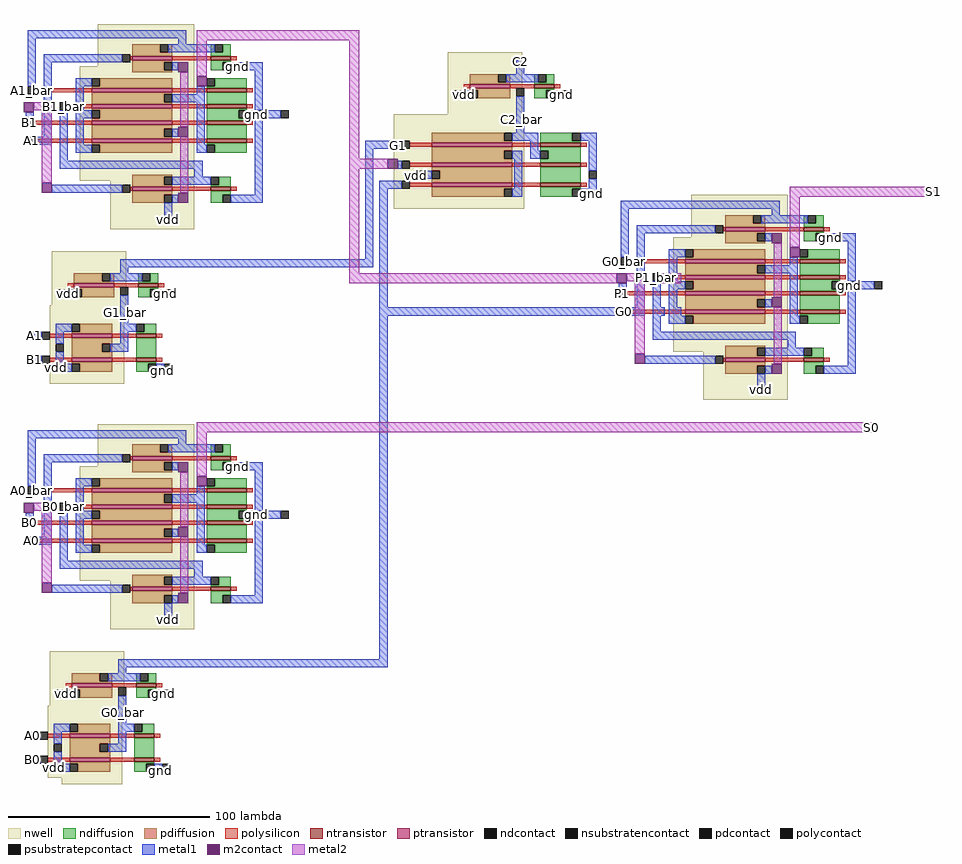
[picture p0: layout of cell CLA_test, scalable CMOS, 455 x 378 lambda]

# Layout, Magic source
magic
tech scmos
<< nwell >>
rect 32 357 80 378
rect 23 300 80 357
rect 206 333 243 364
rect 38 276 80 300
rect 179 330 243 333
rect 179 286 244 330
rect 327 272 375 293
rect 9 238 46 265
rect 8 235 46 238
rect 8 199 45 235
rect 318 215 375 272
rect 333 191 375 215
rect 32 158 80 179
rect 23 101 80 158
rect 38 77 80 101
rect 8 39 45 66
rect 7 36 45 39
rect 7 3 44 36
rect 14 0 44 3
<< ntransistor >>
rect 88 360 98 362
rect 249 346 259 348
rect 86 344 106 346
rect 86 336 106 338
rect 86 328 106 330
rect 86 319 106 321
rect 252 317 272 319
rect 252 307 272 309
rect 88 295 98 297
rect 252 297 272 299
rect 383 275 393 277
rect 381 259 401 261
rect 381 251 401 253
rect 52 247 62 249
rect 381 243 401 245
rect 381 234 401 236
rect 51 222 61 224
rect 51 210 61 212
rect 383 210 393 212
rect 88 161 98 163
rect 86 145 106 147
rect 86 137 106 139
rect 86 129 106 131
rect 86 120 106 122
rect 88 96 98 98
rect 51 48 61 50
rect 50 23 60 25
rect 50 11 60 13
<< ptransistor >>
rect 49 360 69 362
rect 217 346 237 348
rect 29 344 69 346
rect 29 336 69 338
rect 29 328 69 330
rect 29 319 69 321
rect 198 317 238 319
rect 198 307 238 309
rect 49 295 69 297
rect 198 297 238 299
rect 344 275 364 277
rect 324 259 364 261
rect 324 251 364 253
rect 20 247 40 249
rect 324 243 364 245
rect 324 234 364 236
rect 19 222 39 224
rect 19 210 39 212
rect 344 210 364 212
rect 49 161 69 163
rect 29 145 69 147
rect 29 137 69 139
rect 29 129 69 131
rect 29 120 69 122
rect 49 96 69 98
rect 19 48 39 50
rect 18 23 38 25
rect 18 11 38 13
<< ndiffusion >>
rect 88 364 90 368
rect 94 364 98 368
rect 88 362 98 364
rect 88 359 98 360
rect 88 355 94 359
rect 90 347 106 351
rect 249 349 251 353
rect 255 349 259 353
rect 249 348 259 349
rect 86 346 106 347
rect 86 338 106 344
rect 249 345 259 346
rect 249 341 255 345
rect 86 335 106 336
rect 86 331 102 335
rect 86 330 106 331
rect 86 321 106 328
rect 86 318 106 319
rect 90 314 106 318
rect 252 320 268 324
rect 252 319 272 320
rect 252 315 272 317
rect 256 311 272 315
rect 252 309 272 311
rect 92 298 98 302
rect 88 297 98 298
rect 252 299 272 307
rect 88 293 98 295
rect 88 289 94 293
rect 252 296 272 297
rect 252 292 268 296
rect 383 279 385 283
rect 389 279 393 283
rect 383 277 393 279
rect 383 274 393 275
rect 383 270 389 274
rect 385 262 401 266
rect 381 261 401 262
rect 52 250 54 254
rect 58 250 62 254
rect 381 253 401 259
rect 52 249 62 250
rect 52 246 62 247
rect 52 242 58 246
rect 381 250 401 251
rect 381 246 397 250
rect 381 245 401 246
rect 381 236 401 243
rect 381 233 401 234
rect 385 229 401 233
rect 55 225 61 229
rect 51 224 61 225
rect 51 212 61 222
rect 51 209 61 210
rect 387 213 393 217
rect 383 212 393 213
rect 51 205 57 209
rect 383 208 393 210
rect 383 204 389 208
rect 88 165 90 169
rect 94 165 98 169
rect 88 163 98 165
rect 88 160 98 161
rect 88 156 94 160
rect 90 148 106 152
rect 86 147 106 148
rect 86 139 106 145
rect 86 136 106 137
rect 86 132 102 136
rect 86 131 106 132
rect 86 122 106 129
rect 86 119 106 120
rect 90 115 106 119
rect 92 99 98 103
rect 88 98 98 99
rect 88 94 98 96
rect 88 90 94 94
rect 51 51 53 55
rect 57 51 61 55
rect 51 50 61 51
rect 51 47 61 48
rect 51 43 57 47
rect 54 26 60 30
rect 50 25 60 26
rect 50 13 60 23
rect 50 10 60 11
rect 50 6 56 10
<< pdiffusion >>
rect 49 364 63 368
rect 67 364 69 368
rect 49 362 69 364
rect 49 359 69 360
rect 49 355 65 359
rect 49 354 69 355
rect 33 347 69 351
rect 29 346 69 347
rect 217 349 231 353
rect 235 349 237 353
rect 217 348 237 349
rect 217 345 237 346
rect 29 343 69 344
rect 29 339 65 343
rect 29 338 69 339
rect 221 341 237 345
rect 29 335 69 336
rect 33 331 69 335
rect 29 330 69 331
rect 29 326 69 328
rect 29 322 65 326
rect 29 321 69 322
rect 198 320 234 324
rect 29 318 69 319
rect 33 314 69 318
rect 198 319 238 320
rect 198 315 238 317
rect 198 311 234 315
rect 198 309 238 311
rect 198 305 238 307
rect 49 302 69 303
rect 49 298 65 302
rect 49 297 69 298
rect 202 301 238 305
rect 198 299 238 301
rect 198 296 238 297
rect 49 293 69 295
rect 49 289 65 293
rect 198 292 234 296
rect 344 279 358 283
rect 362 279 364 283
rect 344 277 364 279
rect 344 274 364 275
rect 344 270 360 274
rect 344 269 364 270
rect 328 262 364 266
rect 324 261 364 262
rect 324 258 364 259
rect 324 254 360 258
rect 20 250 34 254
rect 38 250 40 254
rect 20 249 40 250
rect 324 253 364 254
rect 324 250 364 251
rect 20 246 40 247
rect 24 242 40 246
rect 328 246 364 250
rect 324 245 364 246
rect 324 241 364 243
rect 324 237 360 241
rect 324 236 364 237
rect 324 233 364 234
rect 328 229 364 233
rect 23 225 39 229
rect 19 224 39 225
rect 19 219 39 222
rect 19 215 34 219
rect 38 215 39 219
rect 19 212 39 215
rect 344 217 364 218
rect 344 213 360 217
rect 19 209 39 210
rect 23 205 39 209
rect 344 212 364 213
rect 344 208 364 210
rect 344 204 360 208
rect 49 165 63 169
rect 67 165 69 169
rect 49 163 69 165
rect 49 160 69 161
rect 49 156 65 160
rect 49 155 69 156
rect 33 148 69 152
rect 29 147 69 148
rect 29 144 69 145
rect 29 140 65 144
rect 29 139 69 140
rect 29 136 69 137
rect 33 132 69 136
rect 29 131 69 132
rect 29 127 69 129
rect 29 123 65 127
rect 29 122 69 123
rect 29 119 69 120
rect 33 115 69 119
rect 49 103 69 104
rect 49 99 65 103
rect 49 98 69 99
rect 49 94 69 96
rect 49 90 65 94
rect 19 51 33 55
rect 37 51 39 55
rect 19 50 39 51
rect 19 47 39 48
rect 23 43 39 47
rect 22 26 38 30
rect 18 25 38 26
rect 18 20 38 23
rect 18 16 33 20
rect 37 16 38 20
rect 18 13 38 16
rect 18 10 38 11
rect 22 6 38 10
<< ndcontact >>
rect 90 364 94 368
rect 94 355 98 359
rect 86 347 90 351
rect 251 349 255 353
rect 255 341 259 345
rect 102 331 106 335
rect 86 314 90 318
rect 268 320 272 324
rect 252 311 256 315
rect 88 298 92 302
rect 94 289 98 293
rect 268 292 272 296
rect 385 279 389 283
rect 389 270 393 274
rect 381 262 385 266
rect 54 250 58 254
rect 58 242 62 246
rect 397 246 401 250
rect 381 229 385 233
rect 51 225 55 229
rect 383 213 387 217
rect 57 205 61 209
rect 389 204 393 208
rect 90 165 94 169
rect 94 156 98 160
rect 86 148 90 152
rect 102 132 106 136
rect 86 115 90 119
rect 88 99 92 103
rect 94 90 98 94
rect 53 51 57 55
rect 57 43 61 47
rect 50 26 54 30
rect 56 6 60 10
<< pdcontact >>
rect 63 364 67 368
rect 65 355 69 359
rect 29 347 33 351
rect 231 349 235 353
rect 65 339 69 343
rect 217 341 221 345
rect 29 331 33 335
rect 123 331 127 335
rect 65 322 69 326
rect 234 320 238 324
rect 29 314 33 318
rect 234 311 238 315
rect 65 298 69 302
rect 198 301 202 305
rect 65 289 69 293
rect 234 292 238 296
rect 358 279 362 283
rect 360 270 364 274
rect 324 262 328 266
rect 360 254 364 258
rect 34 250 38 254
rect 20 242 24 246
rect 324 246 328 250
rect 418 246 422 250
rect 360 237 364 241
rect 324 229 328 233
rect 19 225 23 229
rect 34 215 38 219
rect 360 213 364 217
rect 19 205 23 209
rect 360 204 364 208
rect 63 165 67 169
rect 65 156 69 160
rect 29 148 33 152
rect 65 140 69 144
rect 29 132 33 136
rect 123 132 127 136
rect 65 123 69 127
rect 29 115 33 119
rect 65 99 69 103
rect 65 90 69 94
rect 33 51 37 55
rect 19 43 23 47
rect 18 26 22 30
rect 33 16 37 20
rect 18 6 22 10
<< psubstratepcontact >>
rect 263 341 267 345
rect 110 331 114 335
rect 276 301 280 305
rect 66 242 70 246
rect 405 246 409 250
rect 65 205 69 209
rect 110 132 114 136
rect 65 43 69 47
rect 64 6 68 10
<< nsubstratencontact >>
rect 209 341 213 345
rect 190 301 194 305
rect 65 279 69 283
rect 12 242 16 246
rect 11 215 15 219
rect 360 194 364 198
rect 65 80 69 84
rect 11 43 15 47
rect 10 16 14 20
<< polysilicon >>
rect 48 360 49 362
rect 69 360 88 362
rect 98 360 101 362
rect 214 346 217 348
rect 237 346 249 348
rect 259 346 262 348
rect 1 344 29 346
rect 69 344 86 346
rect 106 344 109 346
rect 17 336 29 338
rect 69 336 86 338
rect 106 336 109 338
rect 0 328 29 330
rect 69 328 86 330
rect 106 328 109 330
rect 1 319 29 321
rect 69 319 86 321
rect 106 319 109 321
rect 187 317 198 319
rect 238 317 252 319
rect 272 317 275 319
rect 187 307 198 309
rect 238 307 252 309
rect 272 307 275 309
rect 48 295 49 297
rect 69 295 88 297
rect 98 295 101 297
rect 187 297 198 299
rect 238 297 252 299
rect 272 297 275 299
rect 343 275 344 277
rect 364 275 383 277
rect 393 275 396 277
rect 296 259 324 261
rect 364 259 381 261
rect 401 259 404 261
rect 312 251 324 253
rect 364 251 381 253
rect 401 251 404 253
rect 17 247 20 249
rect 40 247 52 249
rect 62 247 65 249
rect 295 243 324 245
rect 364 243 381 245
rect 401 243 404 245
rect 296 234 324 236
rect 364 234 381 236
rect 401 234 404 236
rect 8 222 19 224
rect 39 222 51 224
rect 61 222 64 224
rect 8 210 19 212
rect 39 210 51 212
rect 61 210 64 212
rect 343 210 344 212
rect 364 210 383 212
rect 393 210 396 212
rect 48 161 49 163
rect 69 161 88 163
rect 98 161 101 163
rect 1 145 29 147
rect 69 145 86 147
rect 106 145 109 147
rect 17 137 29 139
rect 69 137 86 139
rect 106 137 109 139
rect 0 129 29 131
rect 69 129 86 131
rect 106 129 109 131
rect 1 120 29 122
rect 69 120 86 122
rect 106 120 109 122
rect 48 96 49 98
rect 69 96 88 98
rect 98 96 101 98
rect 16 48 19 50
rect 39 48 51 50
rect 61 48 64 50
rect 7 23 18 25
rect 38 23 50 25
rect 60 23 63 25
rect 7 11 18 13
rect 38 11 50 13
rect 60 11 63 13
<< polycontact >>
rect 44 359 48 363
rect -3 343 1 347
rect 13 335 17 339
rect 240 342 244 346
rect -4 327 0 331
rect -3 318 1 322
rect 183 316 187 320
rect 183 306 187 310
rect 44 294 48 298
rect 183 296 187 300
rect 339 274 343 278
rect 292 258 296 262
rect 308 250 312 254
rect 43 243 47 247
rect 291 242 295 246
rect 292 233 296 237
rect 4 221 8 225
rect 4 209 8 213
rect 339 209 343 213
rect 44 160 48 164
rect -3 144 1 148
rect 13 136 17 140
rect -4 128 0 132
rect -3 119 1 123
rect 44 95 48 99
rect 42 44 46 48
rect 3 22 7 26
rect 3 10 7 14
<< metal1 >>
rect -3 371 76 375
rect -3 347 1 371
rect 72 368 76 371
rect 67 364 90 368
rect 5 359 44 363
rect -4 331 0 334
rect 5 322 9 359
rect 69 355 72 359
rect 98 355 114 359
rect 21 347 29 351
rect 1 318 9 322
rect 13 310 17 335
rect 21 335 25 347
rect 81 343 85 347
rect 69 339 85 343
rect 21 331 29 335
rect 21 318 25 331
rect 69 322 72 326
rect 81 318 85 339
rect 110 335 114 355
rect 240 353 244 360
rect 235 349 251 353
rect 213 341 217 345
rect 106 331 110 335
rect 114 331 123 335
rect 21 314 29 318
rect 81 314 86 318
rect 13 306 84 310
rect 80 302 84 306
rect 69 298 88 302
rect 9 294 44 298
rect 69 289 72 293
rect 110 293 114 331
rect 240 324 244 342
rect 259 341 263 345
rect 238 320 251 324
rect 272 320 280 324
rect 98 289 114 293
rect 165 316 183 320
rect 65 283 69 289
rect 165 261 169 316
rect 247 315 251 320
rect 238 311 243 315
rect 247 311 252 315
rect 181 306 183 310
rect 194 301 198 305
rect 43 257 169 261
rect 172 296 183 300
rect 239 296 243 311
rect 276 305 280 320
rect 276 296 280 301
rect 43 254 47 257
rect 38 250 54 254
rect 16 242 20 246
rect 43 229 47 243
rect 62 242 66 246
rect 172 237 176 296
rect 238 292 243 296
rect 272 292 280 296
rect 292 286 371 290
rect 292 262 296 286
rect 367 283 371 286
rect 362 279 385 283
rect 300 274 339 278
rect 291 246 295 249
rect 300 237 304 274
rect 364 270 367 274
rect 393 270 409 274
rect 316 262 324 266
rect 172 233 292 237
rect 296 233 304 237
rect 308 237 312 250
rect 316 250 320 262
rect 376 258 380 262
rect 364 254 380 258
rect 316 246 324 250
rect 316 237 320 246
rect 364 237 367 241
rect 308 233 314 237
rect 316 233 322 237
rect 376 233 380 254
rect 405 250 409 270
rect 401 246 405 250
rect 409 246 418 250
rect 11 225 19 229
rect 43 225 51 229
rect 0 221 4 225
rect 11 219 15 225
rect 43 219 47 225
rect 38 215 47 219
rect 0 209 4 213
rect 11 209 15 215
rect 11 205 19 209
rect 61 205 65 209
rect -3 172 76 176
rect -3 148 1 172
rect 72 169 76 172
rect 67 165 90 169
rect 5 160 44 164
rect -4 132 0 135
rect 5 123 9 160
rect 69 156 72 160
rect 98 156 114 160
rect 21 148 29 152
rect 1 119 9 123
rect 13 111 17 136
rect 21 136 25 148
rect 81 144 85 148
rect 69 140 85 144
rect 21 132 29 136
rect 21 119 25 132
rect 69 123 72 127
rect 81 119 85 140
rect 110 136 114 156
rect 106 132 110 136
rect 114 132 123 136
rect 21 115 29 119
rect 81 115 86 119
rect 13 107 84 111
rect 80 103 84 107
rect 69 99 88 103
rect 9 95 44 99
rect 69 90 72 94
rect 110 94 114 132
rect 98 90 114 94
rect 65 84 69 90
rect 172 62 176 233
rect 308 225 312 233
rect 316 229 324 233
rect 376 229 381 233
rect 308 221 379 225
rect 375 217 379 221
rect 364 213 383 217
rect 304 209 339 213
rect 364 204 367 208
rect 405 208 409 246
rect 393 204 409 208
rect 360 198 364 204
rect 42 58 176 62
rect 42 55 46 58
rect 37 51 53 55
rect 15 43 19 47
rect 42 30 46 44
rect 61 43 65 47
rect 10 26 18 30
rect 42 26 50 30
rect -1 22 3 26
rect 10 20 14 26
rect 42 20 46 26
rect 37 16 46 20
rect -1 10 3 14
rect 10 10 14 16
rect 10 6 18 10
rect 60 6 64 10
<< m2contact >>
rect -5 334 0 339
rect 72 354 77 359
rect 81 347 86 352
rect 72 322 77 327
rect 4 294 9 299
rect 72 289 77 294
rect 176 306 181 311
rect 290 249 295 254
rect 367 269 372 274
rect 376 262 381 267
rect 367 237 372 242
rect -5 135 0 140
rect 72 155 77 160
rect 81 148 86 153
rect 72 123 77 128
rect 4 95 9 100
rect 72 90 77 95
rect 299 209 304 214
rect 367 204 372 209
<< metal2 >>
rect 81 370 162 375
rect 0 335 9 339
rect 4 299 9 335
rect 73 327 77 354
rect 81 352 86 370
rect 73 294 77 322
rect 157 311 162 370
rect 157 306 176 311
rect 157 254 162 306
rect 376 292 450 297
rect 157 249 290 254
rect 295 250 304 254
rect 299 249 305 250
rect 310 249 322 254
rect 299 214 304 249
rect 368 242 372 269
rect 376 267 381 292
rect 368 209 372 237
rect 81 175 419 180
rect 0 136 9 140
rect 4 100 9 136
rect 73 128 77 155
rect 81 153 86 175
rect 73 95 77 123
<< labels >>
rlabel metal1 108 132 114 136 7 gnd
rlabel metal1 101 156 102 160 7 gnd
rlabel nsubstratencontact 65 80 69 84 1 vdd
rlabel metal1 63 205 65 206 8 gnd
rlabel metal1 11 205 12 209 3 vdd
rlabel metal1 17 242 18 246 7 vdd
rlabel metal1 65 242 66 246 7 gnd
rlabel metal1 108 331 114 335 7 gnd
rlabel metal1 101 355 102 359 7 gnd
rlabel nsubstratencontact 65 279 69 283 1 vdd
rlabel polycontact -3 119 1 123 3 A0
rlabel polycontact -4 128 0 132 3 B0
rlabel metal1 0 210 1 212 3 B1
rlabel metal1 0 222 1 224 3 A1
rlabel polycontact -3 318 1 322 3 A1
rlabel polycontact -4 327 0 331 3 B1
rlabel metal1 190 301 191 304 3 vdd
rlabel metal1 181 296 182 299 3 G0
rlabel metal1 181 316 182 319 3 G1
rlabel metal1 214 341 215 345 7 vdd
rlabel metal1 262 341 263 345 7 gnd
rlabel metal1 242 328 243 333 7 C2_bar
rlabel metal1 241 359 243 360 5 C2
rlabel metal1 277 292 278 295 8 gnd
rlabel metal1 181 306 182 309 3 P1
rlabel metal2 445 292 450 297 7 S1
rlabel metal2 414 175 419 180 1 S0
rlabel nsubstratencontact 360 194 364 198 1 vdd
rlabel metal1 396 270 397 274 7 gnd
rlabel metal1 403 246 409 250 7 gnd
rlabel polycontact 13 136 17 140 1 B0_bar
rlabel polycontact -3 144 1 148 3 A0_bar
rlabel metal1 45 232 46 237 1 G1_bar
rlabel polycontact 13 335 17 339 1 B1_bar
rlabel polycontact -3 343 1 347 3 A1_bar
rlabel polycontact 291 242 295 246 1 P1
rlabel polycontact 292 233 296 237 1 G0
rlabel polycontact 292 258 296 262 1 G0_bar
rlabel polycontact 308 250 312 254 1 P1_bar
rlabel metal1 62 6 64 7 8 gnd
rlabel metal1 10 6 11 10 3 vdd
rlabel metal1 16 43 17 47 7 vdd
rlabel metal1 64 43 65 47 7 gnd
rlabel metal1 44 33 45 38 1 G0_bar
rlabel metal1 -1 11 0 13 3 B0
rlabel metal1 -1 23 0 25 3 A0
<< end >>
